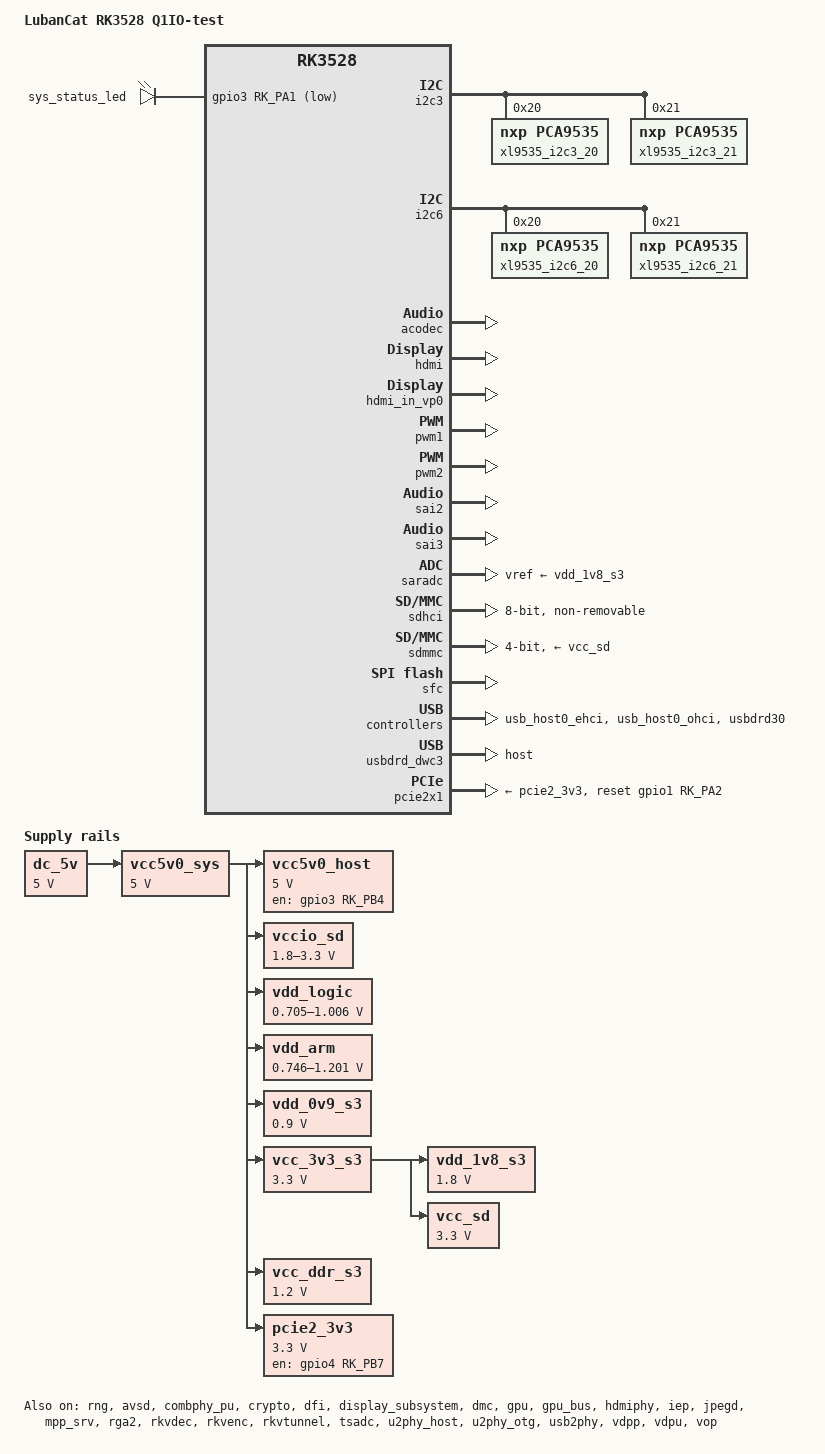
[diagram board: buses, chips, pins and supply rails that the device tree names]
// SPDX-License-Identifier: (GPL-2.0+ OR MIT)
/*
 * Copyright (c) 2022 Rockchip Electronics Co., Ltd.
 *
 */
/dts-v1/;

#include "rk3528.dtsi"
#include <dt-bindings/gpio/gpio.h>
//#include <dt-bindings/input/rk-input.h>
#include <dt-bindings/input/linux-event-codes.h>
#include <dt-bindings/pinctrl/rockchip.h>
#include "rk3528-linux.dtsi"

/ {
    
	/* 注：测试架的SD卡信号用的是普通FPC线，需要把SD卡速率降到50M才能启动，因此在构建镜像前需要用此设备树替换rk3528-lubancat-generic.dts */
	model = "LubanCat RK3528 Q1IO-test";
	compatible = "rockchip,lubancat-q1io-test", "rockchip,rk3528";

	chosen: chosen {
		bootargs = "earlycon=uart8250,mmio32,0xff9f0000 console=ttyFIQ0 root=PARTUUID=614e0000-0000 rw rootwait";
	};

	leds: leds {
		status = "okay";
		compatible = "gpio-leds";

		sys_status_led: sys-status-led {
			label = "sys_status_led";
			linux,default-trigger = "heartbeat";
			default-state = "on";
			gpios = <&gpio3 RK_PA1 GPIO_ACTIVE_LOW>;
			pinctrl-names = "default";
			pinctrl-0 = <&sys_status_led_pin>;
		};

	};

	acodec_sound: acodec-sound {
		status = "okay";
		compatible = "simple-audio-card";
		simple-audio-card,name = "rk3528-acodec";
		simple-audio-card,format = "i2s";
		simple-audio-card,mclk-fs = <256>;
		simple-audio-card,cpu {
			sound-dai = <&sai2>;
		};
		simple-audio-card,codec {
			sound-dai = <&acodec>;
		};
	};

	dc_5v: dc-5v {
		compatible = "regulator-fixed";
		regulator-name = "dc_5v";
		regulator-always-on;
		regulator-boot-on;
		regulator-min-microvolt = <5000000>;
		regulator-max-microvolt = <5000000>;
	};

	hdmi_sound: hdmi-sound {
		compatible = "rockchip,hdmi";
		rockchip,mclk-fs = <128>;
		rockchip,card-name = "rockchip,hdmi";
		rockchip,cpu = <&sai3>;
		rockchip,codec = <&hdmi>;
		rockchip,jack-det;
	};

	vcc5v0_sys: vcc5v0-sys {
		compatible = "regulator-fixed";
		regulator-name = "vcc5v0_sys";
		regulator-always-on;
		regulator-boot-on;
		regulator-min-microvolt = <5000000>;
		regulator-max-microvolt = <5000000>;
		vin-supply = <&dc_5v>;
	};

	vcc5v0_host: vcc5v0-host-regulator {
		compatible = "regulator-fixed";
		regulator-name = "vcc5v0_host";
		regulator-boot-on;
		regulator-always-on;
		regulator-min-microvolt = <5000000>;
		regulator-max-microvolt = <5000000>;
		enable-active-high;
		gpio = <&gpio3 RK_PB4 GPIO_ACTIVE_HIGH>;
		vin-supply = <&vcc5v0_sys>;
		pinctrl-names = "default";
		pinctrl-0 = <&vcc5v0_host_en>;
	};

	vccio_sd: vccio-sd {
		compatible = "regulator-gpio";
		regulator-name = "vccio_sd";
		regulator-min-microvolt = <1800000>;
		regulator-max-microvolt = <3300000>;
		gpios = <&gpio0 RK_PA0 GPIO_ACTIVE_LOW>;
		vin-supply = <&vcc5v0_sys>;
		states = <1800000 0x1 3300000 0x0>;
	};

	vdd_logic: vdd-logic {
		compatible = "pwm-regulator";
		pwms = <&pwm2 0 5000 1>;
		regulator-name = "vdd_logic";
		regulator-min-microvolt = <705000>;
		regulator-max-microvolt = <1006000>;
		regulator-init-microvolt = <900000>;
		regulator-always-on;
		regulator-boot-on;
		regulator-settling-time-up-us = <250>;
		regulator-ramp-delay = <5000>;
		pwm-supply = <&vcc5v0_sys>;
		status = "okay";
	};

	vdd_arm: vdd-arm {
		compatible = "pwm-regulator";
		pwms = <&pwm1 0 5000 1>;
		regulator-name = "vdd_arm";
		regulator-min-microvolt = <746000>;
		regulator-max-microvolt = <1201000>;
		regulator-init-microvolt = <953000>;
		regulator-always-on;
		regulator-boot-on;
		regulator-settling-time-up-us = <250>;
		regulator-ramp-delay = <5000>;
		pwm-supply = <&vcc5v0_sys>;
		status = "okay";
	};

	vdd_0v9_s3: vdd-0v9-s3 {
		compatible = "regulator-fixed";
		regulator-name = "vdd_0v9_s3";
		regulator-always-on;
		regulator-boot-on;
		regulator-min-microvolt = <900000>;
		regulator-max-microvolt = <900000>;
		vin-supply = <&vcc5v0_sys>;
	};

	vdd_1v8_s3: vdd-1v8-s3 {
		compatible = "regulator-fixed";
		regulator-name = "vdd_1v8_s3";
		regulator-always-on;
		regulator-boot-on;
		regulator-min-microvolt = <1800000>;
		regulator-max-microvolt = <1800000>;
		vin-supply = <&vcc_3v3_s3>;
	};

	vcc_3v3_s3: vcc-3v3-s3 {
		compatible = "regulator-fixed";
		regulator-name = "vcc_3v3_s3";
		regulator-always-on;
		regulator-boot-on;
		regulator-min-microvolt = <3300000>;
		regulator-max-microvolt = <3300000>;
		vin-supply = <&vcc5v0_sys>;
	};

	vcc_sd: vcc-sd {
		compatible = "regulator-fixed";
		regulator-name = "vcc_sd";
		regulator-min-microvolt = <3300000>;
		regulator-max-microvolt = <3300000>;
		vin-supply = <&vcc_3v3_s3>;
	};

	vcc_ddr_s3: vcc-ddr-s3 {
		compatible = "regulator-fixed";
		regulator-name = "vcc_ddr_s3";
		regulator-always-on;
		regulator-boot-on;
		regulator-min-microvolt = <1200000>;
		regulator-max-microvolt = <1200000>;
		vin-supply = <&vcc5v0_sys>;
	};

	pcie2_3v3: pcie2-3v3-regulator {
		compatible = "regulator-fixed";
		regulator-name = "pcie2_3v3";
		regulator-min-microvolt = <3300000>;
		regulator-max-microvolt = <3300000>;
		regulator-always-on;
		enable-active-high;
		regulator-boot-on;
		gpio = <&gpio4 RK_PB7 GPIO_ACTIVE_HIGH>;
		vin-supply = <&vcc5v0_sys>;
		pinctrl-names = "default";
		pinctrl-0 = <&pcie2_3v3_en>;
	};
};

&i2c3 {
	pinctrl-names = "default";
	pinctrl-0 = <&i2c3m1_xfer>;
	status = "okay";

	xl9535_i2c3_20: gpio-expander@20 {
        compatible = "nxp,pca9535";
        reg = <0x20>;
        gpio-controller;
        #gpio-cells = <2>;
        #interrupt-cells = <2>;
        interrupt-controller;
    };

	xl9535_i2c3_21: gpio-expander@21 {
        compatible = "nxp,pca9535";
        reg = <0x21>;
        gpio-controller;
        #gpio-cells = <2>;
        #interrupt-cells = <2>;
        interrupt-controller;
    };
};

&i2c6 {
	pinctrl-names = "default";
	pinctrl-0 = <&i2c6m0_xfer>;
	status = "okay";

	xl9535_i2c6_20: gpio-expander@20 {
        compatible = "nxp,pca9535";
        reg = <0x20>;
        gpio-controller;
        #gpio-cells = <2>;
        #interrupt-cells = <2>;
        interrupt-controller;
    };

    xl9535_i2c6_21: gpio-expander@21 {
        compatible = "nxp,pca9535";
        reg = <0x21>;
        gpio-controller;
        #gpio-cells = <2>;
        #interrupt-cells = <2>;
        interrupt-controller;
    };
};

&rng {
	status = "okay";
};

&avsd {
	status = "okay";
};

&combphy_pu {
	status = "okay";
};

&cpu0 {
	cpu-supply = <&vdd_arm>;
};

&crypto {
	status = "okay";
};

&dfi {
	status = "okay";
};

&display_subsystem {
	status = "okay";
};

&dmc {
	center-supply = <&vdd_logic>;
	status = "okay";
};

&acodec {
	status = "okay";
};

&gpu {
	mali-supply = <&vdd_logic>;
	status = "okay";
};

&gpu_bus {
	bus-supply = <&vdd_logic>;
	status = "okay";
};

&hdmi {
	status = "okay";
};

&hdmi_in_vp0 {
	status = "okay";
};

&hdmiphy {
	status = "okay";
};

&iep {
	status = "okay";
};

&iep_mmu {
	status = "okay";
};

&jpegd {
	status = "okay";
};

&jpegd_mmu {
	status = "okay";
};

&mpp_srv {
	status = "okay";
};

&pwm1 {
	status = "okay";
};

&pwm2 {
	status = "okay";
};

&rga2 {
	status = "okay";
};

&rga2_mmu {
	status = "okay";
};

&rkvdec {
	status = "okay";
};

&rkvdec_mmu {
	status = "okay";
};

&rkvenc {
	status = "okay";
};

&rkvenc_mmu {
	status = "okay";
};

&rkvtunnel {
	status = "okay";
};

&rockchip_suspend {
	status = "okay";
	rockchip,sleep-debug-en = <1>;
	rockchip,virtual-poweroff = <1>;
	rockchip,sleep-mode-config = <
		(0
		| RKPM_SLP_ARMPD
		)
	>;
	rockchip,wakeup-config = <
		(0
		| RKPM_CPU0_WKUP_EN
		| RKPM_GPIO_WKUP_EN
		)
	>;
	rockchip,pwm-regulator-config = <
		(0
		| RKPM_PWM0_M0_REGULATOR_EN
		| RKPM_PWM1_M0_REGULATOR_EN
		)
	>;
};

&sai2 {
	status = "okay";
};

&sai3 {
	status = "okay";
};

&saradc {
	status = "okay";
	vref-supply = <&vdd_1v8_s3>;
};

&sdhci {
	bus-width = <8>;
	no-sd;
	no-sdio;
	non-removable;
	mmc-hs400-1_8v;
	mmc-hs400-enhanced-strobe;
	max-frequency = <200000000>;
	status = "okay";
};

&sdmmc {
	bus-width = <4>;
	cap-mmc-highspeed;
	cap-sd-highspeed;
	disable-wp;
	max-frequency = <50000000>;
	pinctrl-names = "default";
	pinctrl-0 = <&sdmmc_clk &sdmmc_cmd &sdmmc_det &sdmmc_bus4>;
	supports-sd;
	sd-uhs-sdr12;
	sd-uhs-sdr25;
	vqmmc-supply = <&vccio_sd>;
	vmmc-supply = <&vcc_sd>;
	status = "okay";
};

&sfc {
	status = "okay";
};

&tsadc {
	status = "okay";
};

&u2phy_host {
	phy-supply = <&vcc5v0_host>;
	status = "okay";
};

&u2phy_otg {
	status = "okay";
};

&usb2phy {
	status = "okay";
};

&usb_host0_ehci {
	status = "okay";
};

&usb_host0_ohci {
	status = "okay";
};

&usbdrd30 {
	status = "okay";
};

&usbdrd_dwc3 {
	dr_mode = "host";
	extcon = <&usb2phy>;
	status = "okay";
};

&vdpp {
	status = "okay";
};

&vdpu {
	status = "okay";
};

&vdpu_mmu {
	status = "okay";
};

&vop {
	status = "okay";
};

&vop_mmu {
	status = "okay";
};

&pcie2x1 {
	reset-gpios = <&gpio1 RK_PA2 GPIO_ACTIVE_HIGH>;
	disable-gpios = <&gpio1 RK_PA3 GPIO_ACTIVE_HIGH>;
	vpcie3v3-supply = <&pcie2_3v3>;
	status = "okay";
};

&pinctrl {
	pcie {
		pcie2_3v3_en: pcie2-3v3-en {
			rockchip,pins = <4 RK_PB7 RK_FUNC_GPIO &pcfg_pull_none>;
		};
	};

	usb {
		vcc5v0_host_en: vcc5v0-host-en {
			rockchip,pins = <3 RK_PB4 RK_FUNC_GPIO &pcfg_pull_none>;
		};
	};

	leds {
		sys_status_led_pin: sys-status-led-pin {
			rockchip,pins = <3 RK_PA1 RK_FUNC_GPIO &pcfg_pull_none>;
		};
	};
};
